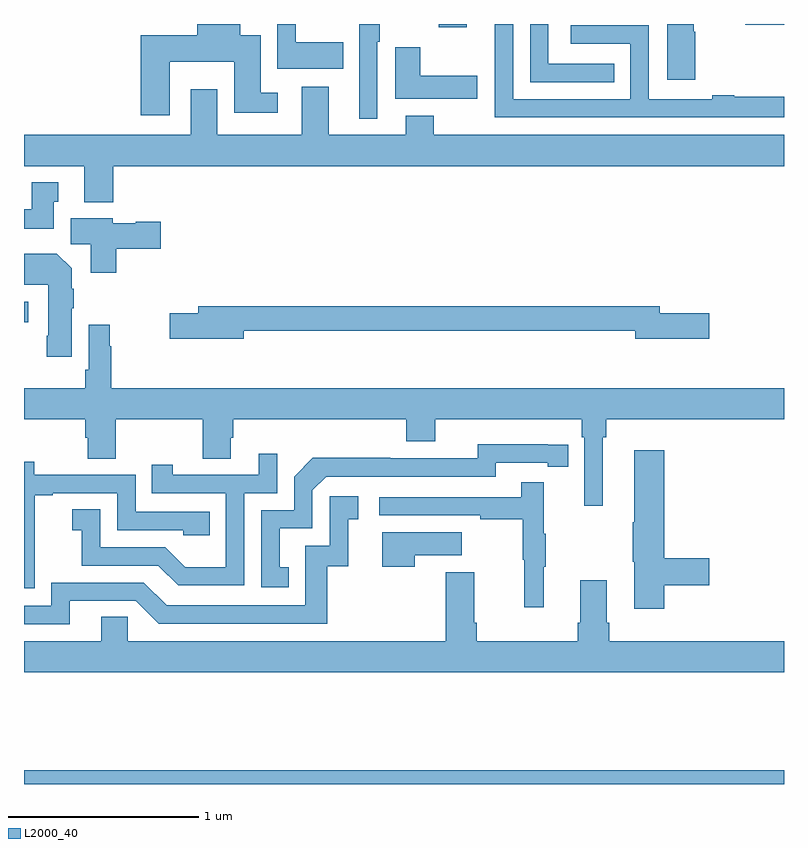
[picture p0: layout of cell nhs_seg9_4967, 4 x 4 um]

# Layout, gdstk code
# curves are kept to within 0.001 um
import gdstk
lib = gdstk.Library(unit=1e-6, precision=1e-09)
def R(c, l, rs):  # rectangles x0, y0, x1, y1
    for r in rs: c.add(gdstk.rectangle(r[:2], r[2:], *l))
def P(c, l, *ps):  # polygons
    for p in ps: c.add(gdstk.Polygon(p, *l))
L2000_40 = (2000, 40)

nhs_seg9_4967 = lib.new_cell('nhs_seg9_4967')
R(nhs_seg9_4967, L2000_40, [(399,1194.5,403,1194.572), (399,1196.931,399.022,1197.039), (401.184,1198.484,401.329,1198.5), (402.795,1198.497,403,1198.5)])
P(nhs_seg9_4967, L2000_40, [(400.679,1198.405),(400.431,1198.405),(400.431,1198.5),(400.334,1198.5),(400.334,1198.265),(400.679,1198.265)],
  [(399.766,1198.301),(400.106,1198.301),(400.106,1198.034),(400.336,1198.034),(400.336,1198.138),(400.246,1198.138),(400.246,1198.441),(400.138,1198.441),(400.138,1198.5),(399.911,1198.5),(399.911,1198.441),(399.614,1198.441),(399.614,1198.02),(399.766,1198.02)],
  [(402.107,1198.29),(401.76,1198.29),(401.76,1198.5),(401.664,1198.5),(401.664,1198.194),(402.107,1198.194)],
  [(400.86,1198.406),(400.873,1198.406),(400.873,1198.5),(400.764,1198.5),(400.764,1198.002),(400.86,1198.002)],
  [(403,1198.117),(402.738,1198.117),(402.738,1198.124),(402.622,1198.124),(402.622,1198.104),(402.288,1198.104),(402.288,1198.493),(401.877,1198.493),(401.877,1198.395),(402.192,1198.395),(402.192,1198.104),(401.574,1198.104),(401.574,1198.5),(401.427,1198.5),(401.427,1198.498),(401.478,1198.498),(401.478,1198.008),(403,1198.008)],
  [(402.534,1198.458),(402.526,1198.458),(402.526,1198.5),(402.386,1198.5),(402.386,1198.206),(402.534,1198.206)],
  [(401.386,1198.228),(401.085,1198.228),(401.085,1198.378),(400.955,1198.378),(400.955,1198.106),(401.386,1198.106)],
  [(399.47,1197.752),(403,1197.752),(403,1197.916),(401.157,1197.916),(401.157,1198.018),(401.009,1198.018),(401.009,1197.916),(400.603,1197.916),(400.603,1198.171),(400.463,1198.171),(400.463,1197.916),(400.018,1197.916),(400.018,1198.156),(399.878,1198.156),(399.878,1197.916),(399,1197.916),(399,1197.752),(399.317,1197.752),(399.317,1197.563),(399.47,1197.563)],
  [(399.157,1197.564),(399.181,1197.564),(399.181,1197.667),(399.041,1197.667),(399.041,1197.526),(399,1197.526),(399,1197.422),(399.157,1197.422)],
  [(399.485,1197.317),(399.721,1197.317),(399.721,1197.459),(399.588,1197.459),(399.588,1197.451),(399.468,1197.451),(399.468,1197.478),(399.245,1197.478),(399.245,1197.34),(399.35,1197.34),(399.35,1197.192),(399.485,1197.192)],
  [(399.25,1197.004),(399.263,1197.004),(399.263,1197.107),(399.25,1197.107),(399.25,1197.214),(399.172,1197.292),(399,1197.292),(399,1197.128),(399.128,1197.128),(399.128,1196.86),(399.121,1196.86),(399.121,1196.748),(399.25,1196.748)],
  [(400.156,1196.886),(402.218,1196.886),(402.218,1196.843),(402.607,1196.843),(402.607,1196.978),(402.346,1196.978),(402.346,1197.014),(399.917,1197.014),(399.917,1196.978),(399.768,1196.978),(399.768,1196.843),(400.156,1196.843)],
  [(402.046,1196.324),(402.065,1196.324),(402.065,1196.42),(403,1196.42),(403,1196.584),(399.458,1196.584),(399.458,1196.804),(399.451,1196.804),(399.451,1196.917),(399.342,1196.917),(399.342,1196.68),(399.322,1196.68),(399.322,1196.584),(399,1196.584),(399,1196.42),(399.323,1196.42),(399.323,1196.322),(399.335,1196.322),(399.335,1196.212),(399.483,1196.212),(399.483,1196.42),(399.94,1196.42),(399.94,1196.212),(400.087,1196.212),(400.087,1196.322),(400.1,1196.322),(400.1,1196.42),(401.012,1196.42),(401.012,1196.303),(401.164,1196.303),(401.164,1196.42),(401.936,1196.42),(401.936,1196.324),(401.949,1196.324),(401.949,1195.965),(402.046,1195.965)],
  [(400.394,1195.641),(400.345,1195.641),(400.345,1195.845),(400.518,1195.845),(400.518,1196.046),(400.59,1196.118),(401.484,1196.118),(401.484,1196.19),(401.756,1196.19),(401.756,1196.17),(401.864,1196.17),(401.864,1196.286),(401.388,1196.287),(401.388,1196.214),(400.928,1196.214),(400.928,1196.216),(400.52,1196.216),(400.422,1196.118),(400.422,1195.941),(400.248,1195.941),(400.248,1195.536),(400.394,1195.536)],
  [(402.371,1195.546),(402.607,1195.546),(402.607,1195.688),(402.371,1195.688),(402.371,1196.257),(402.212,1196.257),(402.212,1195.877),(402.205,1195.877),(402.205,1195.671),(402.212,1195.671),(402.212,1195.422),(402.371,1195.422)],
  [(400.158,1196.031),(400.332,1196.031),(400.332,1196.239),(400.235,1196.239),(400.235,1196.127),(399.784,1196.127),(399.784,1196.179),(399.673,1196.179),(399.673,1196.031),(400.062,1196.031),(400.062,1195.642),(399.848,1195.642),(399.744,1195.746),(399.402,1195.746),(399.402,1195.945),(399.255,1195.945),(399.255,1195.835),(399.304,1195.835),(399.304,1195.65),(399.707,1195.65),(399.812,1195.545),(400.158,1195.545)],
  [(399.057,1195.735),(399.056,1195.735),(399.056,1196.019),(399.151,1196.019),(399.151,1196.031),(399.492,1196.031),(399.492,1195.836),(399.837,1195.836),(399.837,1195.809),(399.977,1195.809),(399.977,1195.932),(399.588,1195.932),(399.588,1196.127),(399.054,1196.127),(399.054,1196.196),(399,1196.196),(399,1195.529),(399.057,1195.529)],
  [(401.735,1195.643),(401.746,1195.643),(401.746,1195.817),(401.735,1195.817),(401.735,1196.089),(401.617,1196.089),(401.617,1196.01),(400.869,1196.01),(400.869,1195.914),(401.401,1195.914),(401.401,1195.894),(401.625,1195.894),(401.625,1195.68),(401.632,1195.68),(401.632,1195.431),(401.735,1195.431)],
  [(399.241,1195.464),(399.588,1195.464),(399.708,1195.344),(400.595,1195.344),(400.595,1195.647),(400.706,1195.647),(400.706,1195.893),(400.759,1195.893),(400.759,1196.014),(400.608,1196.014),(400.608,1195.755),(400.479,1195.755),(400.479,1195.44),(399.75,1195.44),(399.63,1195.56),(399.144,1195.56),(399.144,1195.437),(399,1195.437),(399,1195.341),(399.241,1195.341)],
  [(401.057,1195.703),(401.305,1195.703),(401.305,1195.825),(400.886,1195.825),(400.886,1195.644),(401.057,1195.644)],
  [(403,1195.252),(402.08,1195.252),(402.08,1195.348),(402.067,1195.348),(402.067,1195.573),(401.927,1195.573),(401.927,1195.348),(401.915,1195.348),(401.915,1195.252),(401.384,1195.252),(401.384,1195.348),(401.371,1195.348),(401.371,1195.615),(401.219,1195.615),(401.219,1195.252),(399.546,1195.252),(399.546,1195.379),(399.407,1195.379),(399.407,1195.252),(399,1195.252),(399,1195.088),(403,1195.088)])

lib.write_gds('nhs_seg9_4967.gds')
